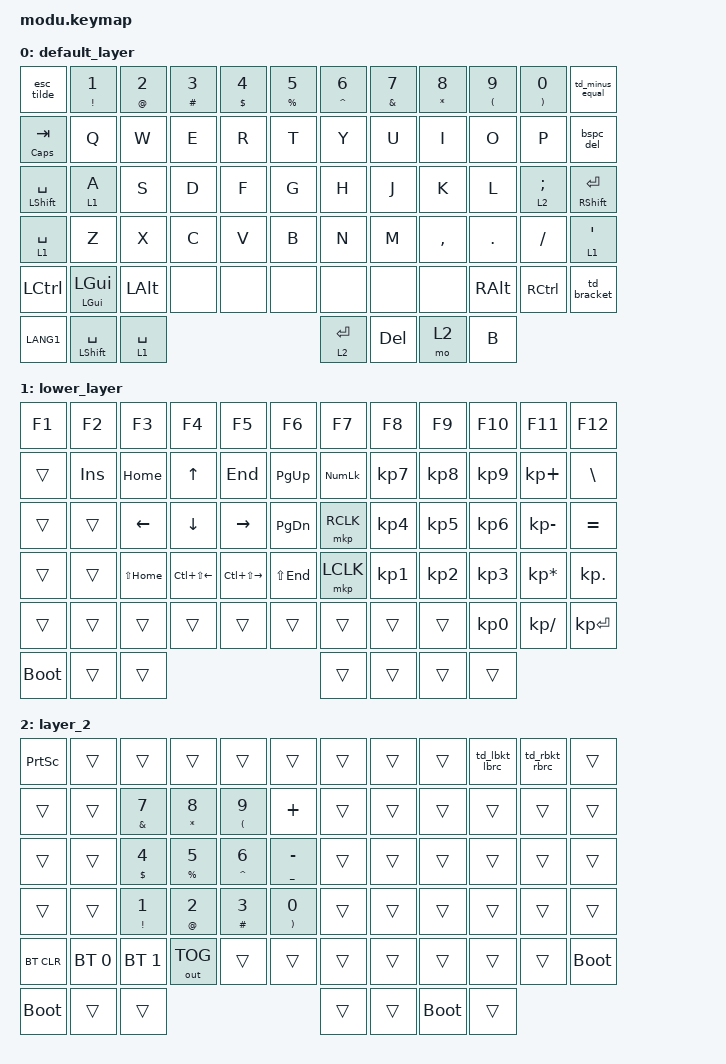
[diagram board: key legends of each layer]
/*
 * Copyright (c) 2026 EKS Inc.
 * Created by Ryu.
 * SPDX-License-Identifier: LicenseRef-EKS-NonCommercial-1.0
 */

#include <behaviors.dtsi>
#include <dt-bindings/zmk/bt.h>
#include <dt-bindings/zmk/keys.h>
#include <dt-bindings/zmk/pointing.h>
#include <dt-bindings/zmk/outputs.h>

/ {
    behaviors {
        ht_sft: hold_tap_shift {
            compatible = "zmk,behavior-hold-tap";
            label = "HT_SFT";
            #binding-cells = <2>;
            flavor = "hold-preferred";
            tapping-term-ms = <170>;
            bindings = <&kp>, <&kp>;
        };

        as: auto_shift {
            compatible = "zmk,behavior-hold-tap";
            label = "AUTO_SHIFT";
            #binding-cells = <2>;
            flavor = "tap-preferred";
            tapping-term-ms = <300>;
            quick-tap-ms = <150>;
            require-prior-idle-ms = <125>;
            bindings = <&kp>, <&kp>;
        };

        td_bracket: td_bracket {
            compatible = "zmk,behavior-tap-dance";
            label = "TD_BRACKET";
            #binding-cells = <0>;
            tapping-term-ms = <300>;
            bindings = <&kp LBKT>, <&kp RBKT>;
        };

        td_lbkt_lbrc: td_lbkt_lbrc {
            compatible = "zmk,behavior-tap-dance";
            label = "TD_LBKT_LBRC";
            #binding-cells = <0>;
            tapping-term-ms = <300>;
            bindings = <&kp LBKT>, <&kp LBRC>;
        };

        td_rbkt_rbrc: td_rbkt_rbrc {
            compatible = "zmk,behavior-tap-dance";
            label = "TD_RBKT_RBRC";
            #binding-cells = <0>;
            tapping-term-ms = <300>;
            bindings = <&kp RBKT>, <&kp RBRC>;
        };

        td_minus_equal: td_minus_equal {
            compatible = "zmk,behavior-tap-dance";
            label = "TD_MINUS_EQUAL";
            #binding-cells = <0>;
            tapping-term-ms = <300>;
            bindings = <&kp MINUS>, <&kp EQUAL>;
        };

        esc_tilde: esc_tilde {
            compatible = "zmk,behavior-mod-morph";
            label = "ESC_TILDE";
            bindings = <&kp ESCAPE>, <&kp TILDE>;

            #binding-cells = <0>;
            mods = <(MOD_LSFT|MOD_RSFT)>;
        };

        bspc_del: bspc_del {
            compatible = "zmk,behavior-mod-morph";
            label = "BSPC_DEL";
            bindings = <&kp BACKSPACE>, <&kp DEL>;

            #binding-cells = <0>;
            mods = <(MOD_LSFT|MOD_RSFT)>;
        };

        ht_sk: ht_sk {
            compatible = "zmk,behavior-hold-tap";
            label = "HT_SK";
            #binding-cells = <2>;
            flavor = "balanced";
            tapping-term-ms = <200>;
            quick-tap-ms = <150>;
            bindings = <&sk>, <&kp>;
        };

        ht_tab: hold_tap_tab {
            compatible = "zmk,behavior-hold-tap";
            label = "HT_TAB";
            #binding-cells = <2>;
            flavor = "tap-preferred";
            tapping-term-ms = <200>;
            bindings = <&kp>, <&kp>;
        };
    };

    combos {
        compatible = "zmk,combos";

        ralt {
            bindings = <&kp RALT>;
            key-positions = <27 26>;
            timeout-ms = <50>;
            layers = <0>;
        };

        caps {
            bindings = <&caps_word>;
            key-positions = <14 15>;
            layers = <0>;
        };

        select_all {
            bindings = <&kp LC(A)>;
            key-positions = <25 26>;
            timeout-ms = <50>;
            layers = <0>;
        };

        undo {
            bindings = <&kp LC(Z)>;
            key-positions = <25 37>;
            timeout-ms = <50>;
            layers = <0>;
        };

        redo {
            bindings = <&kp LC(Y)>;
            key-positions = <26 38>;
            timeout-ms = <50>;
            layers = <0>;
        };

        cut {
            bindings = <&kp LC(X)>;
            key-positions = <37 38>;
            layers = <0>;
        };

        copy {
            bindings = <&kp LC(C)>;
            key-positions = <38 39>;
            layers = <0>;
        };

        paste {
            bindings = <&kp LC(V)>;
            key-positions = <39 40>;
            layers = <0>;
        };

        leftbootloader {
            bindings = <&bootloader>;
            key-positions = <0 41>;
            layers = <0>;
        };

        rightbootloader {
            bindings = <&bootloader>;
            key-positions = <42 11>;
            layers = <0>;
        };

        combo_space {
            bindings = <&kp SPACE>;
            key-positions = <27 28>;
            timeout-ms = <50>;
            layers = <0>;
        };

        combo_enter {
            bindings = <&kp ENTER>;
            key-positions = <32 33>;
            timeout-ms = <50>;
            layers = <0>;
        };

        combo_bspc {
            bindings = <&kp BSPC>;
            key-positions = <20 31>;
            timeout-ms = <50>;
            layers = <0>;
        };

        word_bspc {
            bindings = <&kp LC(BSPC)>;
            key-positions = <19 30>;
            timeout-ms = <50>;
            layers = <0>;
        };

        combo_del {
            bindings = <&kp DEL>;
            key-positions = <20 33>;
            timeout-ms = <50>;
            layers = <0>;
        };

        combo_f1 {
            bindings = <&kp F1>;
            key-positions = <0 1>;
            timeout-ms = <50>;
            layers = <0>;
        };

        combo_f2 {
            bindings = <&kp F2>;
            key-positions = <1 2>;
            timeout-ms = <50>;
            layers = <0>;
        };

        combo_f3 {
            bindings = <&kp F3>;
            key-positions = <2 3>;
            timeout-ms = <50>;
            layers = <0>;
        };

        combo_f4 {
            bindings = <&kp F4>;
            key-positions = <3 4>;
            timeout-ms = <50>;
            layers = <0>;
        };

        combo_f5 {
            bindings = <&kp F5>;
            key-positions = <4 5>;
            timeout-ms = <50>;
            layers = <0>;
        };

        combo_f6 {
            bindings = <&kp F6>;
            key-positions = <6 7>;
            timeout-ms = <50>;
            layers = <0>;
        };

        combo_f7 {
            bindings = <&kp F7>;
            key-positions = <7 8>;
            timeout-ms = <50>;
            layers = <0>;
        };

        combo_f8 {
            bindings = <&kp F8>;
            key-positions = <8 9>;
            timeout-ms = <50>;
            layers = <0>;
        };

        combo_f9 {
            bindings = <&kp F9>;
            key-positions = <9 10>;
            timeout-ms = <50>;
            layers = <0>;
        };

        combo_f10 {
            bindings = <&kp F10>;
            key-positions = <10 11>;
            timeout-ms = <50>;
            layers = <0>;
        };
    };

    keymap {
        compatible = "zmk,keymap";

        default_layer {
            // -----------------------------------------------------------------
            // |ESC | 1  | 2  | 3  | 4  | 5  |   | 6  | 7  | 8  | 9  | 0  |DEL |
            // |TAB | Q  | W  | E  | R  | T  |   | Y  | U  | I  | O  | P  |HOME|
            // |CAPS| A  | S  | D  | F  | G  |   | H  | J  | K  | L  | ;  |PGUP|
            // |LSFT| Z  | X  | C  | V  | B  |   | N  | M  | ,  | .  | /  |PGDN|
            // |LCTL|LALT|LGUI|                                 |RALT|RCTL|END |
            //                |MO1 |LANG|SPC |   |BSPC|RET |MO1 | B  |

            bindings = <
&esc_tilde           &as EXCL N1           &as AT N2         &as HASH N3  &as DLLR N4  &as PRCNT N5  &as CARET N6  &as AMPS N7  &as STAR N8  &as LPAR N9  &as RPAR N0  &td_minus_equal
&ht_tab CAPS TAB     &kp Q                 &kp W             &kp E        &kp R        &kp T         &kp Y         &kp U        &kp I        &kp O        &kp P        &bspc_del
&ht_sft LSHFT SPACE  &lt 1 A               &kp S             &kp D        &kp F        &kp G         &kp H         &kp J        &kp K        &kp L        &lt 2 SEMI   &ht_sft RSHIFT ENTER
&lt 1 SPACE          &kp Z                 &kp X             &kp C        &kp V        &kp B         &kp N         &kp M        &kp COMMA    &kp DOT      &kp FSLH     &lt 1 SQT
&kp LCTRL            &ht_sk LGUI LGUI      &kp LALT          &none        &none        &none         &none         &none        &none        &kp RALT     &kp RCTRL    &td_bracket
&kp LANG1            &ht_sft LSHIFT SPACE  &lt 1 SPACE                                               &lt 2 ENTER   &kp DEL      &mo 2        &kp B
            >;
        };

        lower_layer {
            bindings = <
&kp F1       &kp F2    &kp F3    &kp F4     &kp F5     &kp F6     &kp F7          &kp F8     &kp F9     &kp F10    &kp F11          &kp F12
&trans       &kp INS   &kp HOME  &kp UP     &kp END    &kp PG_UP  &kp KP_NUMLOCK  &kp KP_N7  &kp KP_N8  &kp KP_N9  &kp KP_PLUS      &kp BSLH
&trans       &trans    &kp LEFT  &kp DOWN   &kp RIGHT  &kp PG_DN  &mkp RCLK       &kp KP_N4  &kp KP_N5  &kp KP_N6  &kp KP_MINUS     &kp EQUAL
&trans       &trans    &kp LS(HOME)      &kp LC(LS(LEFT))  &kp LC(LS(RIGHT))  &kp LS(END)     &mkp LCLK       &kp KP_N1  &kp KP_N2  &kp KP_N3  &kp KP_MULTIPLY  &kp KP_DOT
&trans       &trans    &trans    &trans     &trans     &trans     &trans          &trans     &trans     &kp KP_N0  &kp KP_DIVIDE    &kp KP_ENTER
&bootloader  &trans    &trans                                     &trans          &trans     &trans     &trans
            >;
        };

        layer_2 {
            bindings = <
&kp PRINTSCREEN  &trans        &trans        &trans        &trans         &trans          &trans  &trans  &trans  &td_lbkt_lbrc  &td_rbkt_rbrc  &trans
&trans           &trans        &as AMPS N7   &as STAR N8   &as LPAR N9    &kp PLUS        &trans  &trans  &trans  &trans         &trans         &trans
&trans           &trans        &as DLLR N4   &as PRCNT N5  &as CARET N6   &as UNDER MINUS &trans  &trans  &trans  &trans         &trans         &trans
&trans           &trans        &as EXCL N1   &as AT N2     &as HASH N3    &as RPAR N0     &trans  &trans  &trans  &trans         &trans         &trans
&bt BT_CLR       &bt BT_SEL 0  &bt BT_SEL 1  &out OUT_TOG  &trans  &trans  &trans  &trans  &trans       &trans  &trans  &bootloader
&bootloader      &trans        &trans                                &trans  &trans  &bootloader  &trans
            >;
        };
    };
};
